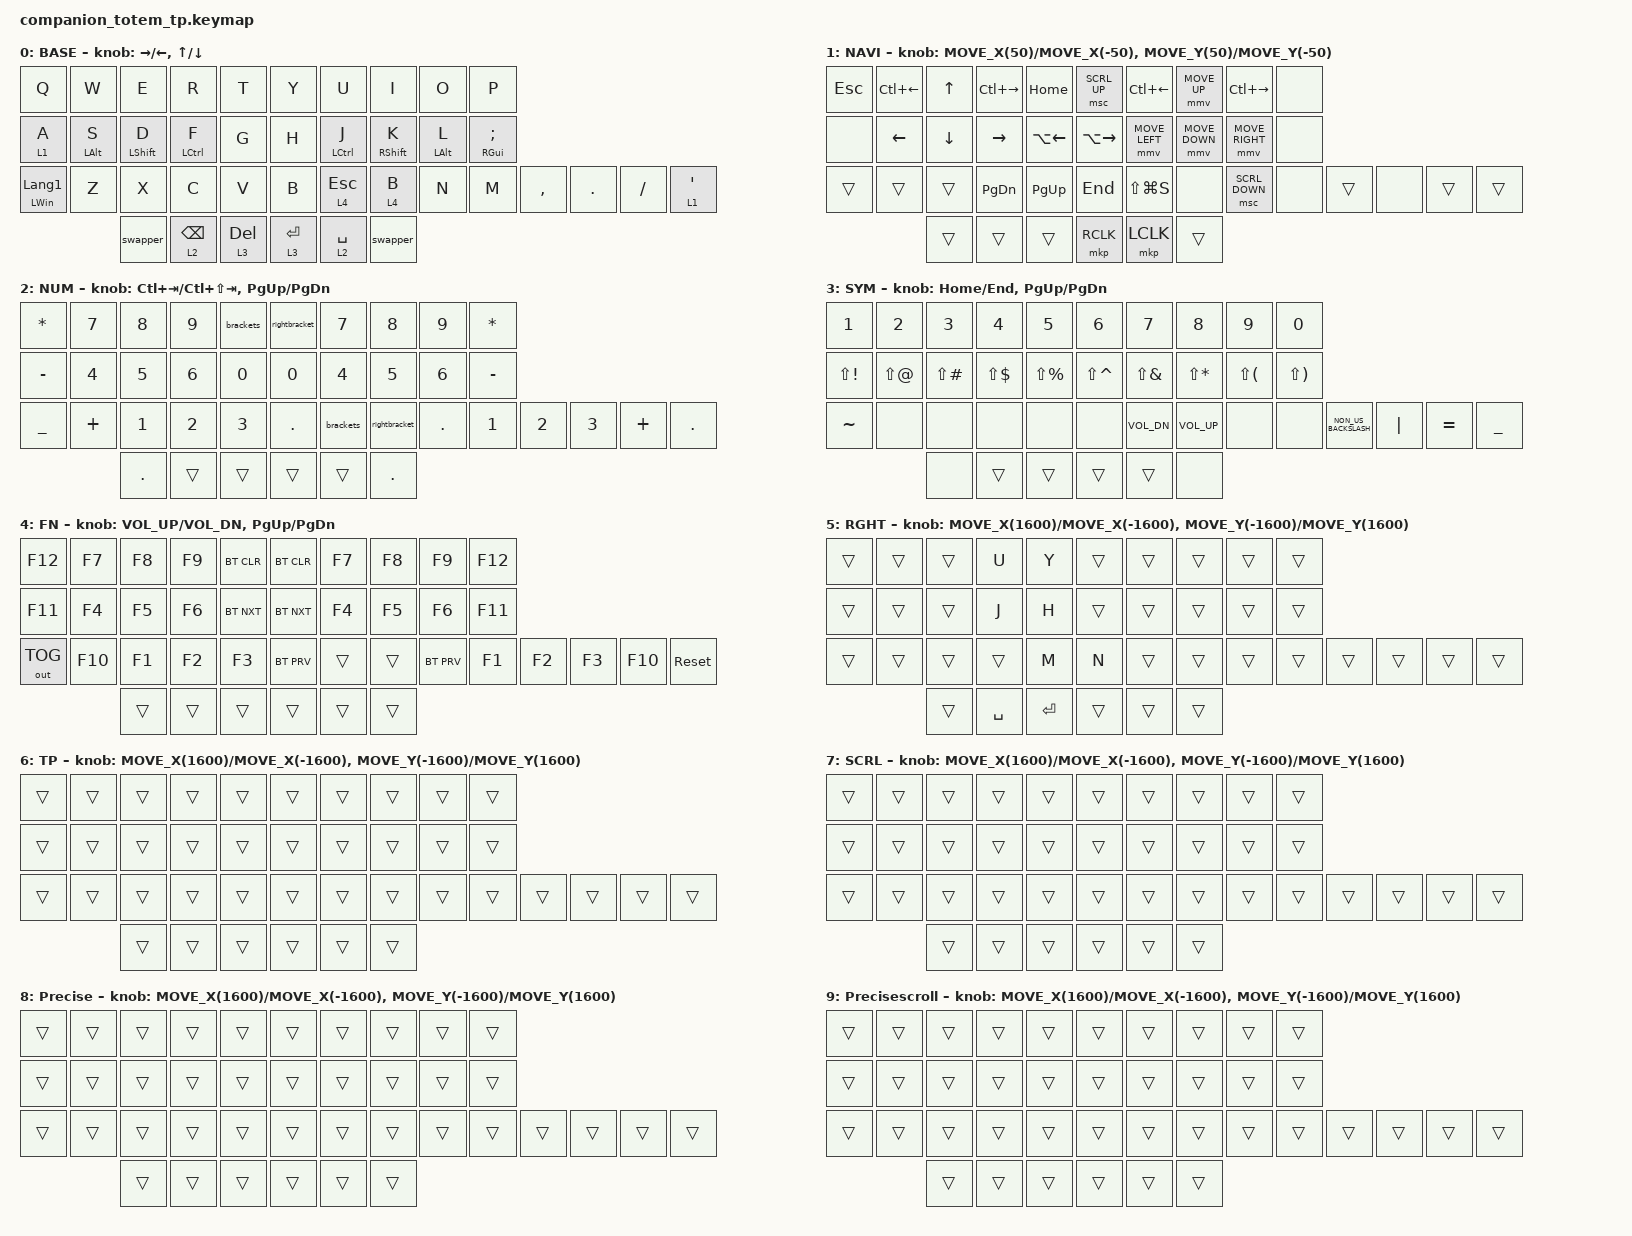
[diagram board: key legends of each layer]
//
//                                                        ▀▀▀▀▀     ▀▀▀▀▀          ▀▀█▀▀
//                                                        ▄▀▀▀▄  ▄  ▄▀▀▀▄  ▄  ▄▀▀▀▄  █  ▄▀▀▀▄
//                                                        █   █  █  █   █  █  █   █  █  █   █
//                                                         ▀▀▀   █   ▀▀▀   █   ▀▀▀   ▀   ▀▀▀
//                                                               █      ▄▄▄█▄▄▄    █   █  
//                                                               ▀      █  █  █     █▄█
//                                                             ▀▀▀▀▀    █  █  █      ▀
//                                                                      ▀  ▀  ▀
//
// ▄▄▄▄▄▄▄▄▄▄▄▄▄▄▄▄▄▄▄▄▄▄▄▄▄▄▄▄▄▄▄▄▄▄▄▄▄▄▄▄▄▄▄▄▄▄▄▄▄▄▄▄▄▄▄▄▄▄▄▄▄▄▄▄▄▄▄▄▄▄▄▄▄▄▄▄▄▄▄▄▄▄▄▄▄▄▄▄▄▄▄▄▄▄▄▄▄▄▄▄▄▄▄▄▄▄▄▄▄▄▄▄▄▄▄▄▄▄▄▄▄▄▄▄▄▄▄▄▄▄▄▄▄▄▄▄▄▄▄▄▄▄▄▄▄▄▄▄▄

#define ZMK_MOUSE_SCRL_VAL 140

#include <behaviors.dtsi>
#include <dt-bindings/zmk/bt.h>
#include <dt-bindings/zmk/keys.h>
#include <dt-bindings/zmk/outputs.h>

#define BASE 0
#define NAV  1
#define NUM  2
#define SYM  3
#define FUN 4
#define RGHT 5
#define TP 6
#define SCR 7
#define PRC 8
#define PSCR 9

/*
 * Defines to enable/disable features
 *
 * These defines allow us to conditionally enable and disable parts of the keymap config.
 *
 * For example, if we decide to build the firmware without the mouse features, we can
 * disable all the config options that rely on those forks and modules without having
 * to edit the entire keymap file manually every time.
 */

#define HAS_MOUSE_KEYS
#define HAS_MOUSE_TP

#ifdef HAS_MOUSE_KEYS
  #include <dt-bindings/zmk/mouse.h>
  #include <behaviors/mouse_keys.dtsi>
#endif  // HAS_MOUSE_KEYS

#ifdef HAS_MOUSE_TP
  // We store the trackpoint settings in a separate file
  // to make organization a little easier.
  #include "include/mouse_tp.dtsi"
#endif  // HAS_MOUSE_TP

// Adjust layer keys based on enabled features.
//
// This prevents build errors when we build the firmware
// without the mouse keys PR or the TP module.
#ifdef HAS_MOUSE_KEYS
  #define U_THUMB_INNER &mo MOUSE_KEYS
#else
  #define U_THUMB_INNER &none
#endif  // HAS_MOUSE_KEYS

#ifdef HAS_MOUSE_TP
  #define U_TOG_TP_SET &tog MOUSE_TP_SET
#else
  #define U_TOG_TP_SET &none
#endif  // HAS_MOUSE_TP

&mt {
    quick-tap-ms = <100>;
    global-quick-tap;
    flavor = "tap-preferred";
    tapping-term-ms = <180>;
};

&lt { quick-tap-ms = <250>; };

/ {
    combos {
        compatible = "zmk,combos";

        combo_esc {
            timeout-ms = <25>;
            key-positions = <0 1>;
            bindings = <&kp ESC>;
            require-prior-idle-ms = <150>;
        };

        Shift_Q {
            bindings = <&kp LS(Q)>;
            key-positions = <0 10>;
            layers = <0>;
        };

        Shift_W {
            bindings = <&kp LS(W)>;
            key-positions = <1 11>;
            layers = <0>;
        };

        Shift_E {
            bindings = <&kp LS(E)>;
            key-positions = <12 2>;
            layers = <0>;
        };

        Shift_R {
            bindings = <&kp LS(R)>;
            key-positions = <13 3>;
            layers = <0>;
        };

        Shift_T {
            bindings = <&kp LS(T)>;
            key-positions = <4 14>;
            layers = <0>;
        };

        Paste {
            bindings = <&kp LC(V)>;
            key-positions = <13 24>;
        };

        Annyeong_macro {
            bindings = <&Annyeong>;
            key-positions = <13 35>;
            timeout-ms = <75>;
            layers = <0>;
        };

        MCHP {
            bindings = <&mchplogin 0 0>;
            key-positions = <20 26>;
        };

        Tab {
            bindings = <&kp TAB>;
            key-positions = <12 13>;
            timeout-ms = <20>;
            require-prior-idle-ms = <250>;
        };

        hanyeonglayer {
            bindings = <&kp LANG_HANGEUL>;
            key-positions = <11 12 13>;
        };

        temp_right_hand {
            bindings = <&sl 5>;
            key-positions = <24 23 22>;
        };

        TOG_NAV {
            bindings = <&tog 1>;
            key-positions = <10 35>;
        };

        alt_tab {
            bindings = <&swapper>;
            key-positions = <0 1 2 3>;
            timeout-ms = <200>;
        };

        kakao {
            bindings = <&kakao>;
            key-positions = <20 25>;
        };

        replyall {
            bindings = <&kp LS(LC(R))>;
            key-positions = <3 2>;
            timeout-ms = <20>;
            require-prior-idle-ms = <250>;
            layers = <0>;
        };

        sniper {
            bindings = <&mo 8>;
            key-positions = <16 17>;
            layers = <0 5 6 7>;
            slow-release;
        };

        scroll_r {
            bindings = <&mo 7>;
            key-positions = <17 18>;
            layers = <0 5 6 7>;
            slow-release;
        };

        precise_scroll {
            bindings = <&mo 9>;
            key-positions = <30 31>;
            timeout-ms = <50>;
            require-prior-idle-ms = <200>;
        };

        ctrl-f {
            bindings = <&kp LC(F)>;
            key-positions = <13 14>;
            timeout-ms = <20>;
            require-prior-idle-ms = <250>;
        };
    };

    macros {
        Left_right_bracket: Left_bracket {
            compatible = "zmk,behavior-macro";
            #binding-cells = <0>;
            bindings =
                <&macro_tap>,
                <&kp LEFT_PARENTHESIS &kp RIGHT_PARENTHESIS &kp LEFT>;

            label = "LEFT_BRACKET";
        };

        left_right_bracket_2: left_right_bracket_2 {
            compatible = "zmk,behavior-macro";
            #binding-cells = <0>;
            bindings = <&kp LEFT_BRACE &kp RIGHT_BRACE &kp LEFT>;
            label = "LEFT_RIGHT_BRACKET_2";
        };

        left_right_bracket_3: left_right_bracket_3 {
            compatible = "zmk,behavior-macro";
            #binding-cells = <0>;
            bindings = <&kp LEFT_BRACKET &kp RIGHT_BRACKET &kp LEFT>;
            label = "LEFT_RIGHT_BRACKET_3";
        };
    };

    behaviors {
        swapper: swapper {
            compatible = "zmk,behavior-tri-state";
            #binding-cells = <0>;
            bindings = <&kt LALT>, <&kp TAB>, <&kt LALT>;

            ignored-key-positions = <2 10 11 12 13>;

            // ignored-layers = <1>;
        };

        semicolon: semicolon {
            compatible = "zmk,behavior-mod-morph";
            label = "SEMICOLON";
            bindings = <&kp COMMA>, <&kp SEMICOLON>;

            #binding-cells = <0>;
            mods = <(MOD_LSFT)>;
        };

        colon: colon {
            compatible = "zmk,behavior-mod-morph";
            label = "COLON";
            bindings = <&kp PERIOD>, <&kp COLON>;

            #binding-cells = <0>;
            mods = <(MOD_LSFT)>;
        };

        hm: homerow_mods {
            compatible = "zmk,behavior-hold-tap";
            label = "HOMEROW_MODS";
            #binding-cells = <2>;
            bindings = <&kp>, <&kp>;

            tapping-term-ms = <150>;
            quick-tap-ms = <200>;
            flavor = "tap-preferred";
            require-prior-idle-ms = <180>;
        };

        brackets: brackets {
            compatible = "zmk,behavior-tap-dance";
            label = "BRACKETS";
            #binding-cells = <0>;
            bindings =
                <&small_bracket 0 LEFT_PARENTHESIS>,
                <&mid_bracket 0 LEFT_BRACE>,
                <&large_bracket 0 LEFT_BRACKET>;
        };

        rightbracket: rightbracket {
            compatible = "zmk,behavior-tap-dance";
            label = "RIGHTBRACKET";
            #binding-cells = <0>;
            bindings =
                <&kp RIGHT_PARENTHESIS>,
                <&kp RIGHT_BRACE>,
                <&kp RIGHT_BRACKET>;
        };

        small_bracket: small_bracket {
            compatible = "zmk,behavior-hold-tap";
            label = "SMALL_BRACKET";
            bindings = <&Left_right_bracket>, <&kp>;

            #binding-cells = <2>;
            tapping-term-ms = <200>;
            flavor = "balanced";
        };

        mid_bracket: mid_bracket {
            compatible = "zmk,behavior-hold-tap";
            label = "MID_BRACKET";
            bindings = <&left_right_bracket_2>, <&kp>;

            #binding-cells = <2>;
            tapping-term-ms = <200>;
            flavor = "balanced";
        };

        large_bracket: large_bracket {
            compatible = "zmk,behavior-hold-tap";
            label = "LARGE_BRACKET";
            bindings = <&left_right_bracket_3>, <&kp>;

            #binding-cells = <2>;
            tapping-term-ms = <200>;
            flavor = "balanced";
        };

        mouse_scroll: rotate_mouse_scroll_left_right {
            compatible = "zmk,behavior-sensor-rotate-var";
            #sensor-binding-cells = <2>;
            bindings = <&msc>, <&msc>;

            label = "scroll_left_right";
            tap-ms = <50>;
        };

        layer1: layer1 {
            compatible = "zmk,behavior-hold-tap";
            label = "LAYER1";
            bindings = <&mo>, <&kp>;

            #binding-cells = <2>;
            tapping-term-ms = <180>;
            require-prior-idle-ms = <150>;
            flavor = "balanced";
        };

        swapperbehav: swapperbehav {
            compatible = "zmk,behavior-hold-tap";
            label = "SWAPPERBEHAV";
            bindings = <&mo>, <&swapper>;

            #binding-cells = <2>;
            tapping-term-ms = <200>;
            flavor = "balanced";
        };

        hm_shift: hm_shift {
            compatible = "zmk,behavior-hold-tap";
            label = "HM_SHIFT";
            #binding-cells = <2>;
            bindings = <&kp>, <&kp>;

            tapping-term-ms = <120>;
            quick-tap-ms = <200>;
            flavor = "tap-preferred";
            require-prior-idle-ms = <100>;
            hold-trigger-on-release;
        };

        mchplogin: mchplogin {
            compatible = "zmk,behavior-hold-tap";
            label = "MCHPLOGIN";
            bindings = <&la_account_login>, <&MCHP>;

            #binding-cells = <2>;
            tapping-term-ms = <300>;
            require-prior-idle-ms = <1000>;
            flavor = "balanced";
        };

        mousemove: mousemove {
            compatible = "zmk,behavior-sensor-rotate-var";
            label = "MOUSEMOVE";
            #sensor-binding-cells = <2>;
            bindings = <&mmv>, <&mmv>;

            tap-ms = <50>;
        };
    };

    keymap {
        compatible = "zmk,keymap";

        // ▄▄▄▄▄▄▄▄▄▄▄▄▄▄▄▄▄▄▄▄▄▄▄▄▄▄▄▄▄▄▄▄▄▄▄▄▄▄▄▄▄▄▄▄▄▄▄▄▄▄▄▄▄▄▄▄▄▄▄▄▄▄▄▄▄▄▄▄▄▄▄▄▄▄▄▄▄▄▄▄▄▄▄▄▄▄▄▄▄▄▄▄▄▄▄▄▄▄▄▄▄▄▄▄▄▄▄▄▄▄▄▄▄▄▄▄▄▄▄▄▄▄▄▄▄▄▄▄▄▄▄▄▄▄▄▄▄▄▄▄▄▄▄▄▄▄▄▄▄

        base_layer {
            // ┏━━━━━━━━━━━━━━━━━━━━━━━━━━━━━━━━━━━━━━━┓

            label = "BASE";

            // ┗━━━━━━━━━━━━━━━━━━━━━━━━━━━━━━━━━━━━━━━┛
            //             ┏━━━━━━━━━━━┳━━━━━━━━━━━┳━━━━━━━━━━━┳━━━━━━━━━━━┳━━━━━━━━━━━┓                           ┏━━━━━━━━━━━┳━━━━━━━━━━━┳━━━━━━━━━━━┳━━━━━━━━━━━┳━━━━━━━━━━━┓
            //             ┃     Q     ┃     W     ┃     E     ┃     R     ┃     T     ┃                           ┃     Y     ┃     U     ┃     I     ┃     O     ┃     P     ┃
            //             ┣━━━━━━━━━━━╋━━━━━━━━━━━╋━━━━━━━━━━━╋━━━━━━━━━━━╋━━━━━━━━━━━┫                           ┣━━━━━━━━━━━╋━━━━━━━━━━━╋━━━━━━━━━━━╋━━━━━━━━━━━╋━━━━━━━━━━━┫
            //             ┃     A     ┃     S     ┃     D     ┃     F     ┃     G     ┃                           ┃     H     ┃     J     ┃     K     ┃     L     ┃     ;     ┃
            // ┏━━━━━━━━━━━╋━━━━━━━━━━━╋━━━━━━━━━━━╋━━━━━━━━━━━╋━━━━━━━━━━━╋━━━━━━━━━━━╋━━━━━━━━━━━┓   ┏━━━━━━━━━━━╋━━━━━━━━━━━╋━━━━━━━━━━━╋━━━━━━━━━━━╋━━━━━━━━━━━╋━━━━━━━━━━━╋━━━━━━━━━━━┓
            // ┃     Q     ┃     Z     ┃     X     ┃     C     ┃     V     ┃     B     ┃     N     ┃   ┃     B     ┃     N     ┃     M     ┃     ,     ┃     .     ┃     /     ┃     \     ┃
            // ┗━━━━━━━━━━━┻━━━━━━━━━━━┻━━━━━━━━━━━╋━━━━━━━━━━━╋━━━━━━━━━━━╋━━━━━━━━━━━╋━━━━━━━━━━━┛   ┗━━━━━━━━━━━╋━━━━━━━━━━━╋━━━━━━━━━━━╋━━━━━━━━━━━╋━━━━━━━━━━━┻━━━━━━━━━━━┻━━━━━━━━━━━┛
            //                                     ┃    DEL    ┃    TAB    ┃    SPC    ┃                           ┃   ENTER   ┃           ┃   BSPC    ┃
            //                                     ┗━━━━━━━━━━━┻━━━━━━━━━━━┻━━━━━━━━━━━┛                           ┗━━━━━━━━━━━┻━━━━━━━━━━━┻━━━━━━━━━━━┛

            bindings = <
&kp Q                    &kp W       &kp E              &kp R            &kp T         &kp Y        &kp U        &kp I              &kp O       &kp P
&layer1 1 A              &hm LALT S  &hm_shift LSHFT D  &hm LCTRL F      &kp G         &kp H        &hm LCTRL J  &hm_shift RSHFT K  &hm LALT L  &hm RGUI SEMI
&hm LEFT_WIN LANGUAGE_1  &kp Z       &kp X              &kp C            &kp V         &kp B        &lt 4 ESC    &lt 4 B            &kp N       &kp M          &kp COMMA  &kp PERIOD  &kp SLASH  &lt 1 SQT
                                     &swapper           &lt 2 BACKSPACE  &lt 3 DELETE  &lt 3 ENTER  &lt 2 SPACE  &swapper
            >;

            sensor-bindings =
                <&inc_dec_kp RIGHT LEFT>,
                <&inc_dec_kp UP_ARROW DOWN>;
        };

        nav_layer {
            // ┏━━━━━━━━━━━━━━━━━━━━━━━━━━━━━━━━━━━━━━━┓

            label = "NAVI";

            // ┗━━━━━━━━━━━━━━━━━━━━━━━━━━━━━━━━━━━━━━━┛
            //             ┏━━━━━━━━━━━┳━━━━━━━━━━━┳━━━━━━━━━━━┳━━━━━━━━━━━┳━━━━━━━━━━━┓                           ┏━━━━━━━━━━━┳━━━━━━━━━━━┳━━━━━━━━━━━┳━━━━━━━━━━━┳━━━━━━━━━━━┓
            //             ┃           ┃           ┃     UP    ┃           ┃     {     ┃                           ┃     }     ┃     7     ┃     8     ┃     9     ┃     +     ┃
            //             ┣━━━━━━━━━━━╋━━━━━━━━━━━╋━━━━━━━━━━━╋━━━━━━━━━━━╋━━━━━━━━━━━┫                           ┣━━━━━━━━━━━╋━━━━━━━━━━━╋━━━━━━━━━━━╋━━━━━━━━━━━╋━━━━━━━━━━━┫
            //             ┃   SHIFT   ┃   LEFT    ┃    DOWN   ┃   RIGHT   ┃     [     ┃                           ┃     ]     ┃     4     ┃     5     ┃     6     ┃     -     ┃
            // ┏━━━━━━━━━━━╋━━━━━━━━━━━╋━━━━━━━━━━━╋━━━━━━━━━━━╋━━━━━━━━━━━╋━━━━━━━━━━━╋━━━━━━━━━━━┓   ┏━━━━━━━━━━━╋━━━━━━━━━━━╋━━━━━━━━━━━╋━━━━━━━━━━━╋━━━━━━━━━━━╋━━━━━━━━━━━╋━━━━━━━━━━━┓
            // ┃           ┃           ┃   P UP    ┃  C LOCK   ┃  P DOWN   ┃     (     ┃     N     ┃   ┃     B     ┃     )     ┃     1     ┃     2     ┃     3     ┃     *     ┃           ┃
            // ┗━━━━━━━━━━━┻━━━━━━━━━━━┻━━━━━━━━━━━╋━━━━━━━━━━━╋━━━━━━━━━━━╋━━━━━━━━━━━╋━━━━━━━━━━━┛   ┗━━━━━━━━━━━╋━━━━━━━━━━━╋━━━━━━━━━━━╋━━━━━━━━━━━╋━━━━━━━━━━━┻━━━━━━━━━━━┻━━━━━━━━━━━┛
            //                                     ┃           ┃    TAB    ┃    SPC    ┃                           ┃    DEL    ┃     0     ┃           ┃
            //                                     ┗━━━━━━━━━━━┻━━━━━━━━━━━┻━━━━━━━━━━━┛                           ┗━━━━━━━━━━━┻━━━━━━━━━━━┻━━━━━━━━━━━┛

            bindings = <
&kp ESC  &kp LC(LEFT)  &kp UP    &kp LC(RIGHT)  &kp HOME      &msc SCRL_UP         &kp LC(LEFT_ARROW)  &mmv MOVE_UP    &kp LC(RIGHT)    &none
&none    &kp LEFT      &kp DOWN  &kp RIGHT      &kp LA(LEFT)  &kp LA(RIGHT_ARROW)  &mmv MOVE_LEFT      &mmv MOVE_DOWN  &mmv MOVE_RIGHT  &none
&trans   &trans        &trans    &kp PAGE_DOWN  &kp PG_UP     &kp END              &kp LS(LG(S))       &none           &msc SCRL_DOWN   &none  &trans  &none  &trans  &trans
                       &trans    &trans         &trans        &mkp RCLK            &mkp LCLK           &trans
            >;

            sensor-bindings =
                <&mouse_scroll MOVE_X(50) MOVE_X(-50)>,
                <&mouse_scroll MOVE_Y(50) MOVE_Y(-50)>;
        };

        num_layer {
            // ┏━━━━━━━━━━━━━━━━━━━━━━━━━━━━━━━━━━━━━━━┓

            label = "NUM";

            // ┗━━━━━━━━━━━━━━━━━━━━━━━━━━━━━━━━━━━━━━━┛
            //             ┏━━━━━━━━━━━┳━━━━━━━━━━━┳━━━━━━━━━━━┳━━━━━━━━━━━┳━━━━━━━━━━━┓                           ┏━━━━━━━━━━━┳━━━━━━━━━━━┳━━━━━━━━━━━┳━━━━━━━━━━━┳━━━━━━━━━━━┓
            //             ┃ SOLO      ┃ TOGGLE IN ┃ RESET ROT ┃ TOGGLE OUT┃ TAKE SNAP ┃                           ┃           ┃           ┃           ┃           ┃           ┃
            //             ┣━━━━━━━━━━━╋━━━━━━━━━━━╋━━━━━━━━━━━╋━━━━━━━━━━━╋━━━━━━━━━━━┫                           ┣━━━━━━━━━━━╋━━━━━━━━━━━╋━━━━━━━━━━━╋━━━━━━━━━━━╋━━━━━━━━━━━┫
            //             ┃ ---       ┃ LAST KEY  ┃ NEW KEY   ┃ NEXT KEY  ┃ ENTER     ┃                           ┃           ┃           ┃           ┃           ┃           ┃
            // ┏━━━━━━━━━━━╋━━━━━━━━━━━╋━━━━━━━━━━━╋━━━━━━━━━━━╋━━━━━━━━━━━╋━━━━━━━━━━━╋━━━━━━━━━━━┓   ┏━━━━━━━━━━━╋━━━━━━━━━━━╋━━━━━━━━━━━╋━━━━━━━━━━━╋━━━━━━━━━━━╋━━━━━━━━━━━╋━━━━━━━━━━━┓
            // ┃           ┃ FULLSCR   ┃ CPY2BRUSH ┃ DEL HEAD  ┃ PSTinPLACE┃ BOOK MARK ┃           ┃   ┃           ┃           ┃           ┃           ┃           ┃           ┃           ┃
            // ┗━━━━━━━━━━━┻━━━━━━━━━━━┻━━━━━━━━━━━╋━━━━━━━━━━━╋━━━━━━━━━━━╋━━━━━━━━━━━╋━━━━━━━━━━━┛   ┗━━━━━━━━━━━╋━━━━━━━━━━━╋━━━━━━━━━━━╋━━━━━━━━━━━╋━━━━━━━━━━━┻━━━━━━━━━━━┻━━━━━━━━━━━┛
            //                                     ┃           ┃ REDO/SAV1 ┃TRANS/WARP ┃                           ┃           ┃           ┃           ┃
            //                                     ┗━━━━━━━━━━━┻━━━━━━━━━━━┻━━━━━━━━━━━┛                           ┗━━━━━━━━━━━┻━━━━━━━━━━━┻━━━━━━━━━━━┛

            bindings = <
&kp STAR        &kp N7    &kp N8        &kp N9        &brackets     &rightbracket  &kp N7     &kp N8         &kp N9      &kp STAR
&kp MINUS       &kp N4    &kp N5        &kp N6        &kp N0        &kp N0         &kp N4     &kp N5         &kp N6      &kp MINUS
&kp UNDERSCORE  &kp PLUS  &kp NUMBER_1  &kp NUMBER_2  &kp NUMBER_3  &kp PERIOD     &brackets  &rightbracket  &kp PERIOD  &kp NUMBER_1  &kp NUMBER_2  &kp NUMBER_3  &kp PLUS  &kp PERIOD
                          &kp PERIOD    &trans        &trans        &trans         &trans     &kp PERIOD
            >;

            sensor-bindings =
                <&inc_dec_kp LC(TAB) LC(LS(TAB))>,
                <&inc_dec_kp PG_UP PG_DN>;
        };

        sym_layer {
            // ┏━━━━━━━━━━━━━━━━━━━━━━━━━━━━━━━━━━━━━━━┓

            label = "SYM";

            // ┗━━━━━━━━━━━━━━━━━━━━━━━━━━━━━━━━━━━━━━━┛
            //             ┏━━━━━━━━━━━┳━━━━━━━━━━━┳━━━━━━━━━━━┳━━━━━━━━━━━┳━━━━━━━━━━━┓                           ┏━━━━━━━━━━━┳━━━━━━━━━━━┳━━━━━━━━━━━┳━━━━━━━━━━━┳━━━━━━━━━━━┓
            //             ┃     !     ┃     @     ┃     #     ┃     $     ┃     %     ┃                           ┃     ˆ     ┃     &     ┃     Ü     ┃     '     ┃     "     ┃
            //             ┣━━━━━━━━━━━╋━━━━━━━━━━━╋━━━━━━━━━━━╋━━━━━━━━━━━╋━━━━━━━━━━━┫                           ┣━━━━━━━━━━━╋━━━━━━━━━━━╋━━━━━━━━━━━╋━━━━━━━━━━━╋━━━━━━━━━━━┫
            //             ┃     Ä     ┃           ┃    SZ     ┃           ┃           ┃                           ┃   MUTE    ┃   YEN     ┃   EURO    ┃  POUND    ┃     Ö     ┃
            // ┏━━━━━━━━━━━╋━━━━━━━━━━━╋━━━━━━━━━━━╋━━━━━━━━━━━╋━━━━━━━━━━━╋━━━━━━━━━━━╋━━━━━━━━━━━┓   ┏━━━━━━━━━━━╋━━━━━━━━━━━╋━━━━━━━━━━━╋━━━━━━━━━━━╋━━━━━━━━━━━╋━━━━━━━━━━━╋━━━━━━━━━━━┓
            // ┃           ┃  EMAIL1   ┃  EMAIL2   ┃           ┃           ┃           ┃     N     ┃   ┃     B     ┃   VOL-    ┃   VOL+    ┃   LAST    ┃   NEXT    ┃     \     ┃           ┃
            // ┗━━━━━━━━━━━┻━━━━━━━━━━━┻━━━━━━━━━━━╋━━━━━━━━━━━╋━━━━━━━━━━━╋━━━━━━━━━━━╋━━━━━━━━━━━┛   ┗━━━━━━━━━━━╋━━━━━━━━━━━╋━━━━━━━━━━━╋━━━━━━━━━━━╋━━━━━━━━━━━┻━━━━━━━━━━━┻━━━━━━━━━━━┛
            //                                     ┃           ┃    GIF    ┃    ADJ    ┃                           ┃           ┃           ┃           ┃
            //                                     ┗━━━━━━━━━━━┻━━━━━━━━━━━┻━━━━━━━━━━━┛                           ┗━━━━━━━━━━━┻━━━━━━━━━━━┻━━━━━━━━━━━┛

            bindings = <
&kp N1        &kp N2      &kp N3         &kp N4        &kp N5         &kp N6         &kp N7        &kp N8           &kp N9        &kp N0
&kp LS(EXCL)  &kp LS(AT)  &kp LS(POUND)  &kp LS(DLLR)  &kp LS(PRCNT)  &kp LS(CARET)  &kp LS(AMPS)  &kp LS(STAR)     &kp LS(LPAR)  &kp LS(RPAR)
&kp TILDE     &none       &none          &none         &none          &none          &kp C_VOL_DN  &kp C_VOLUME_UP  &none         &none         &kp NON_US_BACKSLASH  &kp PIPE  &kp EQUAL  &kp UNDERSCORE
                          &none          &trans        &trans         &trans         &trans        &none
            >;

            sensor-bindings = <&inc_dec_kp HOME END>, <&inc_dec_kp PG_UP PG_DN>;
        };

        fn_layer {
            // ┏━━━━━━━━━━━━━━━━━━━━━━━━━━━━━━━━━━━━━━━┓

            label = "FN";

            // ┗━━━━━━━━━━━━━━━━━━━━━━━━━━━━━━━━━━━━━━━┛
            //             ┏━━━━━━━━━━━┳━━━━━━━━━━━┳━━━━━━━━━━━┳━━━━━━━━━━━┳━━━━━━━━━━━┓                           ┏━━━━━━━━━━━┳━━━━━━━━━━━┳━━━━━━━━━━━┳━━━━━━━━━━━┳━━━━━━━━━━━┓
            //             ┃   RESET   ┃ BT CLEAR  ┃  OUT TOG  ┃           ┃           ┃                           ┃           ┃    F7     ┃    F8     ┃    F9     ┃    F12    ┃
            //             ┣━━━━━━━━━━━╋━━━━━━━━━━━╋━━━━━━━━━━━╋━━━━━━━━━━━╋━━━━━━━━━━━┫                           ┣━━━━━━━━━━━╋━━━━━━━━━━━╋━━━━━━━━━━━╋━━━━━━━━━━━╋━━━━━━━━━━━┫
            //             ┃ BOOTLOAD  ┃ BT NEXT   ┃           ┃           ┃           ┃                           ┃           ┃    F4     ┃    F5     ┃    F6     ┃    F11    ┃
            // ┏━━━━━━━━━━━╋━━━━━━━━━━━╋━━━━━━━━━━━╋━━━━━━━━━━━╋━━━━━━━━━━━╋━━━━━━━━━━━╋━━━━━━━━━━━┓   ┏━━━━━━━━━━━╋━━━━━━━━━━━╋━━━━━━━━━━━╋━━━━━━━━━━━╋━━━━━━━━━━━╋━━━━━━━━━━━╋━━━━━━━━━━━┓
            // ┃           ┃           ┃ BT PREV   ┃           ┃           ┃           ┃           ┃   ┃           ┃           ┃    F1     ┃    F2     ┃    F3     ┃    F10    ┃           ┃
            // ┗━━━━━━━━━━━┻━━━━━━━━━━━┻━━━━━━━━━━━╋━━━━━━━━━━━╋━━━━━━━━━━━╋━━━━━━━━━━━╋━━━━━━━━━━━┛   ┗━━━━━━━━━━━╋━━━━━━━━━━━╋━━━━━━━━━━━╋━━━━━━━━━━━╋━━━━━━━━━━━┻━━━━━━━━━━━┻━━━━━━━━━━━┛
            //                                     ┃           ┃           ┃           ┃                           ┃           ┃           ┃           ┃
            //                                     ┗━━━━━━━━━━━┻━━━━━━━━━━━┻━━━━━━━━━━━┛                           ┗━━━━━━━━━━━┻━━━━━━━━━━━┻━━━━━━━━━━━┛

            bindings = <
&kp F12       &kp F7   &kp F8  &kp F9  &bt BT_CLR  &bt BT_CLR  &kp F7  &kp F8  &kp F9      &kp F12
&kp F11       &kp F4   &kp F5  &kp F6  &bt BT_NXT  &bt BT_NXT  &kp F4  &kp F5  &kp F6      &kp F11
&out OUT_TOG  &kp F10  &kp F1  &kp F2  &kp F3      &bt BT_PRV  &trans  &trans  &bt BT_PRV  &kp F1   &kp F2  &kp F3  &kp F10  &sys_reset
                       &trans  &trans  &trans      &trans      &trans  &trans
            >;

            sensor-bindings = <&inc_dec_kp C_VOL_UP C_VOL_DN &inc_dec_kp PG_UP PG_DN>;
        };

        righthand {
            bindings = <
&trans  &trans  &trans  &kp U      &kp Y    &trans  &trans  &trans  &trans  &trans
&trans  &trans  &trans  &kp J      &kp H    &trans  &trans  &trans  &trans  &trans
&trans  &trans  &trans  &trans     &kp M    &kp N   &trans  &trans  &trans  &trans  &trans  &trans  &trans  &trans
                &trans  &kp SPACE  &kp RET  &trans  &trans  &trans
            >;

            label = "RGHT";
            sensor-bindings =
                <&mousemove MOVE_X(1600) MOVE_X(-1600)>,
                <&mousemove MOVE_Y(-1600) MOVE_Y(1600)>;
        };

#ifdef HAS_MOUSE_TP
    // Automatically activated when the mouse or trackpoint moves.
    // Configured in `include/mouse_tp.dtsi`.
    MouseTP_layer {
      display-name = "TP";
      bindings = <
&trans  &trans  &trans  &trans     &trans    &trans  &trans  &trans  &trans  &trans
&trans  &trans  &trans  &trans     &trans    &trans  &trans  &trans  &trans  &trans
&trans  &trans  &trans  &trans     &trans    &trans  &trans  &trans  &trans  &trans  &trans  &trans  &trans  &trans
                &trans  &trans  &trans  &trans  &trans  &trans
            >;
            label = "TP";
            sensor-bindings =
                <&mousemove MOVE_X(1600) MOVE_X(-1600)>,
                <&mousemove MOVE_Y(-1600) MOVE_Y(1600)>;
    };
    
    Scroll {
      display-name = "SCRL";
      bindings = <
&trans  &trans  &trans  &trans     &trans    &trans  &trans  &trans  &trans  &trans
&trans  &trans  &trans  &trans     &trans    &trans  &trans  &trans  &trans  &trans
&trans  &trans  &trans  &trans     &trans    &trans  &trans  &trans  &trans  &trans  &trans  &trans  &trans  &trans
                &trans  &trans  &trans  &trans  &trans  &trans
            >;
            label = "SCROLL";
            sensor-bindings =
                <&mousemove MOVE_X(1600) MOVE_X(-1600)>,
                <&mousemove MOVE_Y(-1600) MOVE_Y(1600)>;
    };

    Precise {
      display-name = "Precise";
      bindings = <
&trans  &trans  &trans  &trans     &trans    &trans  &trans  &trans  &trans  &trans
&trans  &trans  &trans  &trans     &trans    &trans  &trans  &trans  &trans  &trans
&trans  &trans  &trans  &trans     &trans    &trans  &trans  &trans  &trans  &trans  &trans  &trans  &trans  &trans
                &trans  &trans  &trans  &trans  &trans  &trans
            >;
            label = "PRECISE";
            sensor-bindings =
                <&mousemove MOVE_X(1600) MOVE_X(-1600)>,
                <&mousemove MOVE_Y(-1600) MOVE_Y(1600)>;
    };

    Precisescroll {
      display-name = "Precisescroll";
      bindings = <
&trans  &trans  &trans  &trans     &trans    &trans  &trans  &trans  &trans  &trans
&trans  &trans  &trans  &trans     &trans    &trans  &trans  &trans  &trans  &trans
&trans  &trans  &trans  &trans     &trans    &trans  &trans  &trans  &trans  &trans  &trans  &trans  &trans  &trans
                &trans  &trans  &trans  &trans  &trans  &trans
            >;
            label = "PRECSCRL";
            sensor-bindings =
                <&mousemove MOVE_X(1600) MOVE_X(-1600)>,
                <&mousemove MOVE_Y(-1600) MOVE_Y(1600)>;
    };

#endif

    //Encoder default
    // &left_encoder {
    // status = "okay";
    // zmk,bindings = <&msc SCRL_RIGHT &msc SCRL_LEFT>; // scroll horizontal
    // };
    // &right_encoder {
    // status = "okay";
    // zmk,bindings = <&msc SCRL_UP &msc SCRL_DOWN>; // scroll vertical
    // };
  };
};
